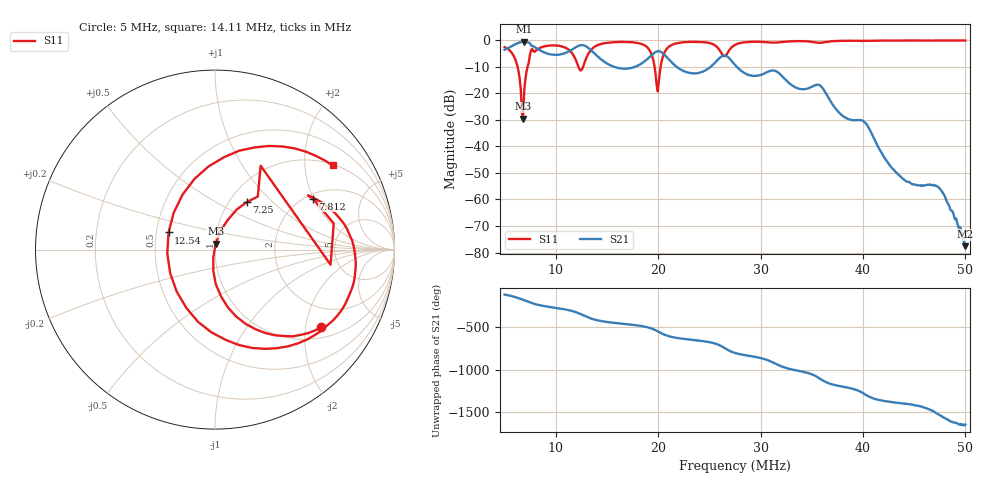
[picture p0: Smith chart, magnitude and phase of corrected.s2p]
! S11/S21 only; reverse parameters are placeholders. Device calibration unverified.
! [Saver CAL applied] C:\Users\aknya\MyProjects\rf-simulator\calibration2.cal | Ideal standards assumed | Input: NanoVNA F V2 profile | COM3 | 2026-09-08T11:37:44.7402635-04:00 | device calibration unverified
# HZ S RI R 50
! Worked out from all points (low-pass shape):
!   401 points, 5 MHz to 50 MHz, reference 50 ohm
!   highest |S21| = -0.64 dB at 6.912 MHz (marker M1); lowest = -77.6 dB at 50 MHz (marker M2)
!   |S21| within 3 dB of the highest: start of sweep to 8.348 MHz; 11.56 MHz to 13.38 MHz (1.825 MHz wide, 14.6 % of centre)
!   lowest |S11| = -29.6 dB at 6.8 MHz (marker M3), VSWR 1.07, Z = 50.3 + j3.33 ohm
!   |S11| at or under -10 dB: 6.26 MHz to 7.247 MHz (986.5 kHz wide, 14.6 % of centre); 12.2 MHz to 12.67 MHz (467.8 kHz wide, 3.76 % of centre); 19.64 MHz to 20.24 MHz (598.1 kHz wide, 3 % of centre)
!   S12 and S22 are empty: the file has one direction only
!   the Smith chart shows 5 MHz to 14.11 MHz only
!   S11 on the Smith chart (normalised r, x): 5 MHz: 1.31, -2.45; 7.25 MHz: 1.20, +0.71; 7.812 MHz: 2.16, +1.97; 12.54 MHz: 0.58, +0.12; 14.11 MHz: 1.04, +2.78
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5000000  0.5925 -0.4318  -0.372 -0.5434  0 0  0 0
6012500  0.1701 -0.4133  -0.7391 -0.3713  0 0  0 0
6800000  0.00407 0.0331  -0.9218 0.0974  0 0  0 0
6912500  0.03 0.1033  -0.9118 0.1777  0 0  0 0
7250000  0.177 0.2644  -0.8134 0.3978  0 0  0 0
7812500  0.5449 0.2844  -0.48 0.5885  0 0  0 0
9725000  0.7745 -0.1777  0.0516 0.5276  0 0  0 0
1.13e7  0.3442 -0.5494  0.3757 0.4887  0 0  0 0
1.25375e7  -0.2589 0.0956  0.8045 0.0178  0 0  0 0
1.41125e7  0.6564 0.4686  0.1957 -0.4451  0 0  0 0
1.65875e7  0.9102 -0.135  -0.0799 -0.278  0 0  0 0
1.88375e7  0.468 -0.5939  -0.3373 -0.2546  0 0  0 0
2.0075e7  -0.042 0.1729  -0.5735 0.2283  0 0  0 0
2.1875e7  0.8697 0.0985  0.0106 0.3056  0 0  0 0
2.62625e7  0.4408 -0.3016  0.4885 -0.1156  0 0  0 0
2.75e7  0.7963 -0.1564  0.0219 -0.3401  0 0  0 0
3.09875e7  0.7438 -0.5025  -0.263 0.0248  0 0  0 0
3.50375e7  0.6311 -0.6745  0.1229 0.0515  0 0  0 0
4.02125e7  0.5194 -0.8091  -0.024 0.0144  0 0  0 0
4.2575e7  0.4411 -0.8708  0.00197 0.00403  0 0  0 0
4.7525e7  0.2493 -0.9444  -0.000142 -0.00158  0 0  0 0
5e7  0.1578 -0.9692  -0.000123 4.9e-05  0 0  0 0
